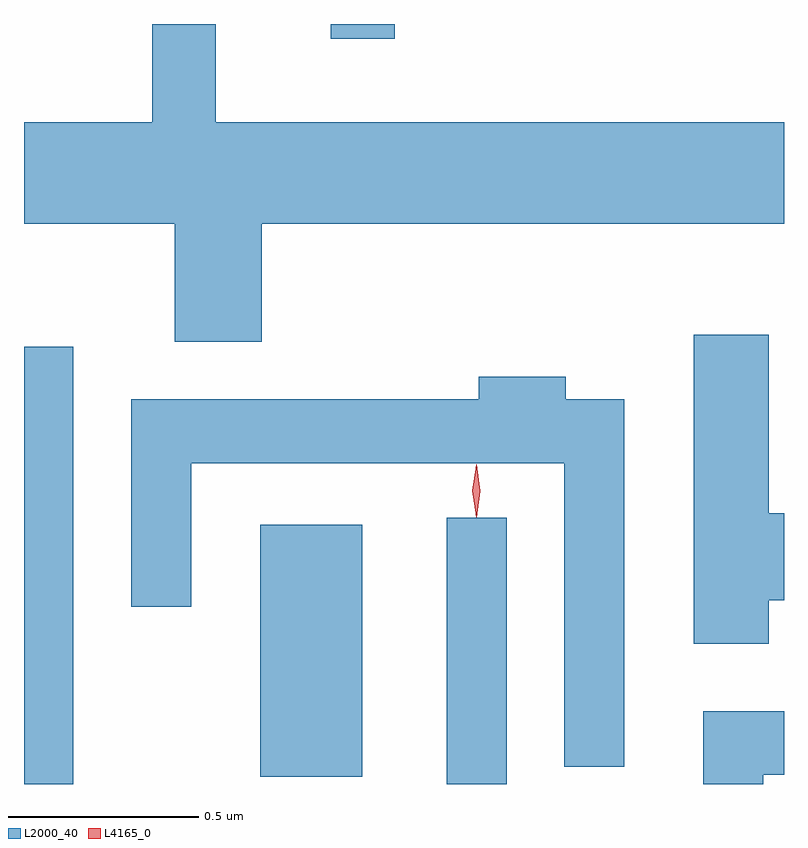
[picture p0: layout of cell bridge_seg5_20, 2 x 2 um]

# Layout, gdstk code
import gdstk
lib = gdstk.Library(unit=1e-6, precision=1e-09)
def R(c, l, rs):  # rectangles x0, y0, x1, y1
    for r in rs: c.add(gdstk.rectangle(r[:2], r[2:], *l))
def P(c, l, *ps):  # polygons
    for p in ps: c.add(gdstk.Polygon(p, *l))
L2000_40 = (2000, 40)
L4165_0 = (4165, 0)

bridge_seg5_20 = lib.new_cell('bridge_seg5_20')
R(bridge_seg5_20, L2000_40, [(1263.594,1475.302,1263.724,1476.453), (1264.706,1475.302,1264.864,1476.003), (1264.216,1475.321,1264.484,1475.984), (1264.401,1477.263,1264.569,1477.302)])
P(bridge_seg5_20, L2000_40, [(1264.219,1476.776),(1265.594,1476.776),(1265.594,1477.044),(1264.099,1477.044),(1264.099,1477.302),(1263.931,1477.302),(1263.931,1477.044),(1263.594,1477.044),(1263.594,1476.776),(1263.991,1476.776),(1263.991,1476.466),(1264.219,1476.466)],
  [(1265.554,1475.786),(1265.594,1475.786),(1265.594,1476.014),(1265.554,1476.014),(1265.554,1476.484),(1265.356,1476.484),(1265.356,1475.671),(1265.554,1475.671)],
  [(1265.174,1476.314),(1265.019,1476.314),(1265.019,1476.374),(1264.791,1476.374),(1264.791,1476.314),(1263.876,1476.314),(1263.876,1475.768),(1264.034,1475.768),(1264.034,1476.146),(1265.016,1476.146),(1265.016,1475.348),(1265.174,1475.348)],
  [(1265.539,1475.326),(1265.594,1475.326),(1265.594,1475.494),(1265.381,1475.494),(1265.381,1475.302),(1265.539,1475.302)])
P(bridge_seg5_20, L4165_0, [(1264.784,1476.004),(1264.775,1476.073),(1264.784,1476.142),(1264.785,1476.143),(1264.785,1476.142),(1264.795,1476.073),(1264.785,1476.004),(1264.785,1476.004)],
  [(1264.784,1476.007),(1264.784,1476.007),(1264.774,1476.074),(1264.784,1476.14),(1264.784,1476.14),(1264.785,1476.14),(1264.794,1476.074),(1264.785,1476.007)])

lib.write_gds('bridge_seg5_20.gds')
